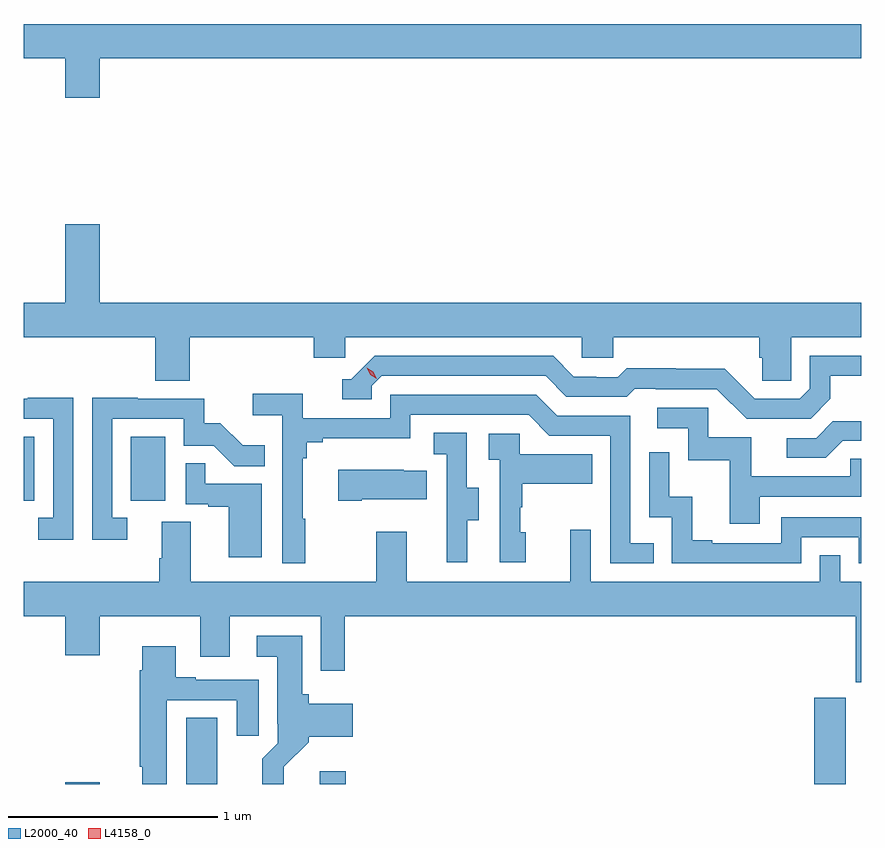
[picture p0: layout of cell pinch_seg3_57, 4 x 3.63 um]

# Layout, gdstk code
import gdstk
lib = gdstk.Library(unit=1e-6, precision=1e-09)
def R(c, l, rs):  # rectangles x0, y0, x1, y1
    for r in rs: c.add(gdstk.rectangle(r[:2], r[2:], *l))
def P(c, l, *ps):  # polygons
    for p in ps: c.add(gdstk.Polygon(p, *l))
L2000_40 = (2000, 40)
L4158_0 = (4158, 0)

pinch_seg3_57 = lib.new_cell('pinch_seg3_57')
R(pinch_seg3_57, L2000_40, [(1076.096,744.07,1076.26,744.079), (1076.672,744.07,1076.821,744.386), (1077.311,744.07,1077.434,744.13), (1079.672,744.07,1079.824,744.483), (1075.897,745.422,1075.948,745.729), (1076.408,745.422,1076.572,745.729)])
P(pinch_seg3_57, L2000_40, [(1076.26,747.536),(1079.897,747.536),(1079.897,747.7),(1075.897,747.7),(1075.897,747.536),(1076.096,747.536),(1076.096,747.348),(1076.26,747.348)],
  [(1076.69,746.204),(1077.281,746.204),(1077.281,746.106),(1077.432,746.106),(1077.432,746.204),(1078.563,746.204),(1078.563,746.106),(1078.713,746.106),(1078.713,746.204),(1079.411,746.204),(1079.411,746.106),(1079.425,746.106),(1079.425,745.996),(1079.562,745.996),(1079.562,746.204),(1079.897,746.204),(1079.897,746.368),(1076.26,746.368),(1076.26,746.743),(1076.096,746.743),(1076.096,746.368),(1075.897,746.368),(1075.897,746.204),(1076.525,746.204),(1076.525,745.996),(1076.69,745.996)],
  [(1079.749,745.909),(1079.749,746.019),(1079.897,746.019),(1079.897,746.115),(1079.652,746.115),(1079.652,745.959),(1079.604,745.911),(1079.388,745.911),(1079.246,746.053),(1079.01,746.053),(1079.01,746.056),(1078.777,746.056),(1078.735,746.013),(1078.632,746.013),(1078.632,746.016),(1078.525,746.016),(1078.426,746.115),(1077.573,746.115),(1077.462,746.004),(1077.419,746.004),(1077.419,745.908),(1077.558,745.908),(1077.558,745.971),(1077.606,746.019),(1078.389,746.019),(1078.488,745.92),(1078.777,745.92),(1078.816,745.959),(1078.915,745.959),(1078.915,745.956),(1079.208,745.956),(1079.349,745.815),(1079.655,745.815)],
  [(1077.241,745.337),(1077.229,745.337),(1077.229,745.625),(1077.248,745.625),(1077.248,745.702),(1077.325,745.702),(1077.325,745.721),(1077.744,745.721),(1077.744,745.833),(1078.308,745.833),(1078.407,745.734),(1078.698,745.734),(1078.698,745.125),(1078.907,745.125),(1078.907,745.221),(1078.794,745.221),(1078.794,745.83),(1078.444,745.83),(1078.345,745.929),(1077.648,745.929),(1077.648,745.818),(1077.23,745.818),(1077.23,745.934),(1076.991,745.934),(1076.991,745.832),(1077.132,745.832),(1077.132,745.125),(1077.241,745.125)],
  [(1076.392,745.341),(1076.319,745.341),(1076.319,745.815),(1076.661,745.815),(1076.661,745.686),(1076.805,745.686),(1076.903,745.588),(1077.047,745.588),(1077.047,745.687),(1076.943,745.687),(1076.836,745.794),(1076.76,745.794),(1076.76,745.911),(1076.441,745.911),(1076.441,745.916),(1076.223,745.916),(1076.223,745.236),(1076.392,745.236)],
  [(1076.133,745.916),(1075.915,745.916),(1075.915,745.911),(1075.897,745.911),(1075.897,745.815),(1076.037,745.815),(1076.037,745.341),(1075.965,745.341),(1075.965,745.236),(1076.133,745.236)],
  [(1079.413,745.443),(1079.897,745.443),(1079.897,745.623),(1079.845,745.623),(1079.845,745.539),(1079.371,745.539),(1079.371,745.725),(1079.166,745.725),(1079.166,745.866),(1078.923,745.866),(1078.923,745.77),(1079.07,745.77),(1079.07,745.617),(1079.269,745.617),(1079.269,745.314),(1079.413,745.314)],
  [(1079.809,745.71),(1079.897,745.71),(1079.897,745.802),(1079.762,745.802),(1079.682,745.722),(1079.541,745.722),(1079.541,745.629),(1079.728,745.629)],
  [(1078.015,745.33),(1078.069,745.33),(1078.069,745.485),(1078.014,745.485),(1078.014,745.748),(1077.855,745.748),(1077.855,745.645),(1077.918,745.645),(1077.918,745.341),(1077.917,745.341),(1077.917,745.128),(1078.015,745.128)],
  [(1078.294,745.272),(1078.269,745.272),(1078.269,745.391),(1078.279,745.391),(1078.279,745.505),(1078.613,745.505),(1078.613,745.645),(1078.266,745.645),(1078.266,745.743),(1078.119,745.743),(1078.119,745.619),(1078.17,745.619),(1078.17,745.128),(1078.294,745.128)],
  [(1079.61,745.248),(1079.886,745.248),(1079.886,745.125),(1079.897,745.125),(1079.897,745.344),(1079.514,745.344),(1079.514,745.221),(1079.185,745.221),(1079.185,745.234),(1079.09,745.234),(1079.09,745.442),(1078.98,745.442),(1078.98,745.654),(1078.884,745.654),(1078.884,745.344),(1078.992,745.344),(1078.992,745.125),(1079.61,745.125)],
  [(1077.034,745.503),(1076.765,745.503),(1076.765,745.601),(1076.67,745.601),(1076.67,745.407),(1076.777,745.407),(1076.777,745.395),(1076.876,745.395),(1076.876,745.152),(1077.034,745.152)],
  [(1077.511,745.43),(1077.821,745.43),(1077.821,745.567),(1077.713,745.567),(1077.713,745.57),(1077.399,745.57),(1077.399,745.423),(1077.511,745.423)],
  [(1079.897,745.036),(1079.796,745.036),(1079.796,745.163),(1079.7,745.163),(1079.7,745.036),(1078.605,745.036),(1078.605,745.285),(1078.508,745.285),(1078.508,745.036),(1077.727,745.036),(1077.727,745.276),(1077.58,745.276),(1077.58,745.036),(1076.695,745.036),(1076.695,745.322),(1076.555,745.322),(1076.555,745.148),(1076.543,745.148),(1076.543,745.036),(1075.897,745.036),(1075.897,744.872),(1076.096,744.872),(1076.096,744.684),(1076.26,744.684),(1076.26,744.872),(1076.741,744.872),(1076.741,744.678),(1076.881,744.678),(1076.881,744.872),(1077.315,744.872),(1077.315,744.612),(1077.431,744.612),(1077.431,744.872),(1079.87,744.872),(1079.87,744.555),(1079.897,744.555)],
  [(1077.139,744.152),(1077.257,744.27),(1077.257,744.296),(1077.469,744.296),(1077.469,744.454),(1077.257,744.454),(1077.257,744.498),(1077.226,744.498),(1077.226,744.778),(1077.009,744.778),(1077.009,744.677),(1077.107,744.677),(1077.107,744.358),(1077.111,744.358),(1077.111,744.264),(1077.037,744.19),(1077.037,744.07),(1077.139,744.07)],
  [(1076.581,744.471),(1076.915,744.471),(1076.915,744.3),(1077.019,744.3),(1077.019,744.567),(1076.719,744.567),(1076.719,744.58),(1076.623,744.58),(1076.623,744.727),(1076.462,744.727),(1076.462,744.614),(1076.45,744.614),(1076.45,744.152),(1076.462,744.152),(1076.462,744.07),(1076.581,744.07)])
P(pinch_seg3_57, L4158_0, [(1077.582,746.005),(1077.551,746.025),(1077.535,746.057),(1077.535,746.058),(1077.535,746.058),(1077.566,746.038),(1077.582,746.005),(1077.582,746.005)])

lib.write_gds('pinch_seg3_57.gds')
